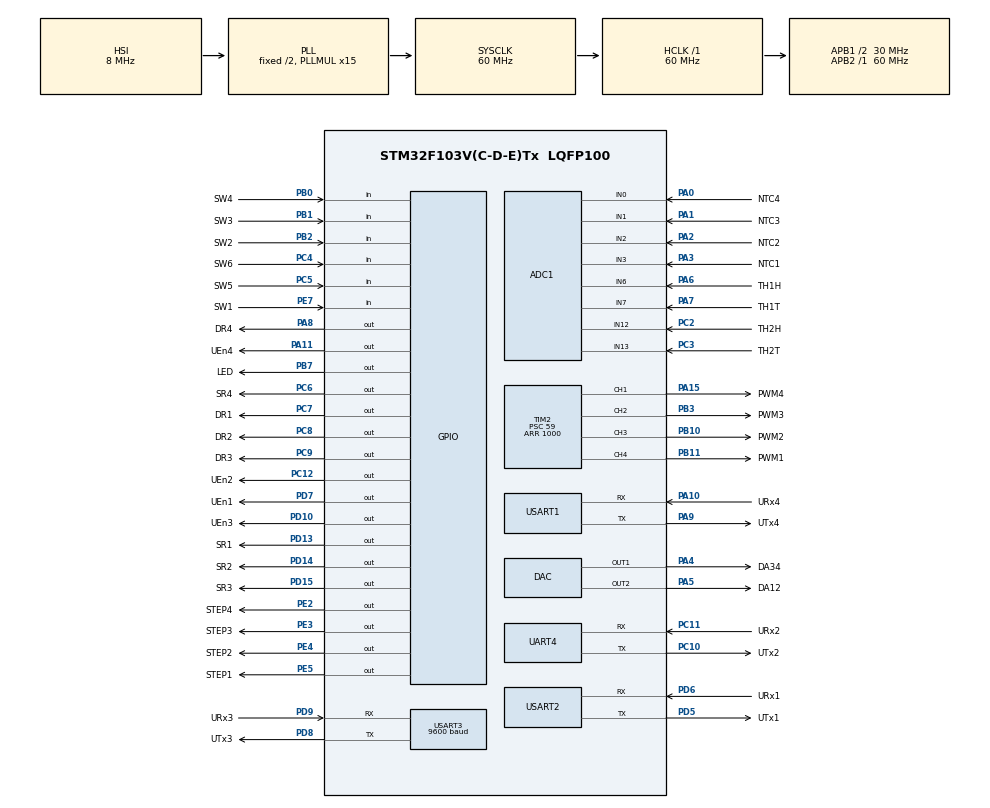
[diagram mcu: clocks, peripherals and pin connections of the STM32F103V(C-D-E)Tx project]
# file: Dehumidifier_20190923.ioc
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ADC1.Channel-0\#ChannelRegularConversion=ADC_CHANNEL_0
ADC1.Channel-10\#ChannelRegularConversion=ADC_CHANNEL_TEMPSENSOR
ADC1.Channel-11\#ChannelRegularConversion=ADC_CHANNEL_VREFINT
ADC1.Channel-3\#ChannelRegularConversion=ADC_CHANNEL_1
ADC1.Channel-4\#ChannelRegularConversion=ADC_CHANNEL_2
ADC1.Channel-5\#ChannelRegularConversion=ADC_CHANNEL_3
ADC1.Channel-6\#ChannelRegularConversion=ADC_CHANNEL_6
ADC1.Channel-7\#ChannelRegularConversion=ADC_CHANNEL_7
ADC1.Channel-8\#ChannelRegularConversion=ADC_CHANNEL_12
ADC1.Channel-9\#ChannelRegularConversion=ADC_CHANNEL_13
ADC1.ContinuousConvMode=ENABLE
ADC1.NbrOfConversion=10
ADC1.NbrOfConversionFlag=1
ADC1.Rank-0\#ChannelRegularConversion=1
ADC1.Rank-10\#ChannelRegularConversion=9
ADC1.Rank-11\#ChannelRegularConversion=10
ADC1.Rank-3\#ChannelRegularConversion=2
ADC1.Rank-4\#ChannelRegularConversion=3
ADC1.Rank-5\#ChannelRegularConversion=4
ADC1.Rank-6\#ChannelRegularConversion=5
ADC1.Rank-7\#ChannelRegularConversion=6
ADC1.Rank-8\#ChannelRegularConversion=7
ADC1.Rank-9\#ChannelRegularConversion=8
ADC1.SamplingTime-0\#ChannelRegularConversion=ADC_SAMPLETIME_239CYCLES_5
ADC1.SamplingTime-10\#ChannelRegularConversion=ADC_SAMPLETIME_239CYCLES_5
ADC1.SamplingTime-11\#ChannelRegularConversion=ADC_SAMPLETIME_239CYCLES_5
ADC1.SamplingTime-3\#ChannelRegularConversion=ADC_SAMPLETIME_239CYCLES_5
ADC1.SamplingTime-4\#ChannelRegularConversion=ADC_SAMPLETIME_239CYCLES_5
ADC1.SamplingTime-5\#ChannelRegularConversion=ADC_SAMPLETIME_239CYCLES_5
ADC1.SamplingTime-6\#ChannelRegularConversion=ADC_SAMPLETIME_239CYCLES_5
ADC1.SamplingTime-7\#ChannelRegularConversion=ADC_SAMPLETIME_239CYCLES_5
ADC1.SamplingTime-8\#ChannelRegularConversion=ADC_SAMPLETIME_239CYCLES_5
ADC1.SamplingTime-9\#ChannelRegularConversion=ADC_SAMPLETIME_239CYCLES_5
ADC1.master=1
Dma.ADC1.0.Direction=DMA_PERIPH_TO_MEMORY
Dma.ADC1.0.Instance=DMA1_Channel1
Dma.ADC1.0.MemDataAlignment=DMA_MDATAALIGN_WORD
Dma.ADC1.0.MemInc=DMA_MINC_ENABLE
Dma.ADC1.0.Mode=DMA_CIRCULAR
Dma.ADC1.0.PeriphDataAlignment=DMA_PDATAALIGN_WORD
Dma.ADC1.0.PeriphInc=DMA_PINC_DISABLE
Dma.ADC1.0.Priority=DMA_PRIORITY_LOW
Dma.Request0=ADC1
Dma.Request1=UART4_RX
Dma.Request2=UART4_TX
Dma.Request3=USART1_RX
Dma.Request4=USART1_TX
Dma.Request5=USART2_RX
Dma.Request6=USART2_TX
Dma.Request7=USART3_RX
Dma.Request8=USART3_TX
Dma.UART4_RX.1.Direction=DMA_PERIPH_TO_MEMORY
Dma.UART4_RX.1.Instance=DMA2_Channel3
Dma.UART4_RX.1.MemDataAlignment=DMA_MDATAALIGN_BYTE
Dma.UART4_RX.1.MemInc=DMA_MINC_ENABLE
Dma.UART4_RX.1.Mode=DMA_NORMAL
Dma.UART4_RX.1.PeriphDataAlignment=DMA_PDATAALIGN_BYTE
Dma.UART4_RX.1.PeriphInc=DMA_PINC_DISABLE
Dma.UART4_RX.1.Priority=DMA_PRIORITY_LOW
Dma.UART4_TX.2.Direction=DMA_MEMORY_TO_PERIPH
Dma.UART4_TX.2.Instance=DMA2_Channel5
Dma.UART4_TX.2.MemDataAlignment=DMA_MDATAALIGN_BYTE
Dma.UART4_TX.2.MemInc=DMA_MINC_ENABLE
Dma.UART4_TX.2.Mode=DMA_NORMAL
Dma.UART4_TX.2.PeriphDataAlignment=DMA_PDATAALIGN_BYTE
Dma.UART4_TX.2.PeriphInc=DMA_PINC_DISABLE
Dma.UART4_TX.2.Priority=DMA_PRIORITY_LOW
Dma.USART1_RX.3.Direction=DMA_PERIPH_TO_MEMORY
Dma.USART1_RX.3.Instance=DMA1_Channel5
Dma.USART1_RX.3.MemDataAlignment=DMA_MDATAALIGN_BYTE
Dma.USART1_RX.3.MemInc=DMA_MINC_ENABLE
Dma.USART1_RX.3.Mode=DMA_NORMAL
Dma.USART1_RX.3.PeriphDataAlignment=DMA_PDATAALIGN_BYTE
Dma.USART1_RX.3.PeriphInc=DMA_PINC_DISABLE
Dma.USART1_RX.3.Priority=DMA_PRIORITY_LOW
Dma.USART1_TX.4.Direction=DMA_MEMORY_TO_PERIPH
Dma.USART1_TX.4.Instance=DMA1_Channel4
Dma.USART1_TX.4.MemDataAlignment=DMA_MDATAALIGN_BYTE
Dma.USART1_TX.4.MemInc=DMA_MINC_ENABLE
Dma.USART1_TX.4.Mode=DMA_NORMAL
Dma.USART1_TX.4.PeriphDataAlignment=DMA_PDATAALIGN_BYTE
Dma.USART1_TX.4.PeriphInc=DMA_PINC_DISABLE
Dma.USART1_TX.4.Priority=DMA_PRIORITY_LOW
Dma.USART2_RX.5.Direction=DMA_PERIPH_TO_MEMORY
Dma.USART2_RX.5.Instance=DMA1_Channel6
Dma.USART2_RX.5.MemDataAlignment=DMA_MDATAALIGN_BYTE
Dma.USART2_RX.5.MemInc=DMA_MINC_ENABLE
Dma.USART2_RX.5.Mode=DMA_NORMAL
Dma.USART2_RX.5.PeriphDataAlignment=DMA_PDATAALIGN_BYTE
Dma.USART2_RX.5.PeriphInc=DMA_PINC_DISABLE
Dma.USART2_RX.5.Priority=DMA_PRIORITY_LOW
Dma.USART2_TX.6.Direction=DMA_MEMORY_TO_PERIPH
Dma.USART2_TX.6.Instance=DMA1_Channel7
Dma.USART2_TX.6.MemDataAlignment=DMA_MDATAALIGN_BYTE
Dma.USART2_TX.6.MemInc=DMA_MINC_ENABLE
Dma.USART2_TX.6.Mode=DMA_NORMAL
Dma.USART2_TX.6.PeriphDataAlignment=DMA_PDATAALIGN_BYTE
Dma.USART2_TX.6.PeriphInc=DMA_PINC_DISABLE
Dma.USART2_TX.6.Priority=DMA_PRIORITY_LOW
Dma.USART3_RX.7.Direction=DMA_PERIPH_TO_MEMORY
Dma.USART3_RX.7.Instance=DMA1_Channel3
Dma.USART3_RX.7.MemDataAlignment=DMA_MDATAALIGN_BYTE
Dma.USART3_RX.7.MemInc=DMA_MINC_ENABLE
Dma.USART3_RX.7.Mode=DMA_NORMAL
Dma.USART3_RX.7.PeriphDataAlignment=DMA_PDATAALIGN_BYTE
Dma.USART3_RX.7.PeriphInc=DMA_PINC_DISABLE
Dma.USART3_RX.7.Priority=DMA_PRIORITY_LOW
Dma.USART3_TX.8.Direction=DMA_MEMORY_TO_PERIPH
Dma.USART3_TX.8.Instance=DMA1_Channel2
Dma.USART3_TX.8.MemDataAlignment=DMA_MDATAALIGN_BYTE
Dma.USART3_TX.8.MemInc=DMA_MINC_ENABLE
Dma.USART3_TX.8.Mode=DMA_NORMAL
Dma.USART3_TX.8.PeriphDataAlignment=DMA_PDATAALIGN_BYTE
Dma.USART3_TX.8.PeriphInc=DMA_PINC_DISABLE
Dma.USART3_TX.8.Priority=DMA_PRIORITY_LOW
FREERTOS.Tasks01=task01,1,256,task01_most_important_task,Default,NULL,Dynamic,NULL,NULL;task02,1,256,task02_cps_read_write_task,Default,NULL,Dynamic,NULL,NULL;task03,0,256,task03_hmi_wait_cmd_task,Default,NULL,Dynamic,NULL,NULL;task04,0,256,task04_aqi_read_task,Default,NULL,Dynamic,NULL,NULL;task05,-1,128,task05_pwm_adc_dac_gpio_task,Default,NULL,Dynamic,NULL,NULL;task06,-1,128,task06_stepper_task,Default,NULL,Dynamic,NULL,NULL;task07,-2,128,task07_misc_func_task,Default,NULL,Dynamic,NULL,NULL
FREERTOS.configTOTAL_HEAP_SIZE=20480
FREERTOS.configUSE_TIMERS=1
Mcu.Family=STM32F1
Mcu.Name=STM32F103V(C-D-E)Tx
Mcu.Package=LQFP100
NVIC.DMA1_Channel1_IRQn=true\:5\:0\:false\:false\:true\:true\:false\:true
NVIC.DMA1_Channel2_IRQn=true\:5\:0\:false\:false\:true\:true\:false\:true
NVIC.DMA1_Channel3_IRQn=true\:5\:0\:false\:false\:true\:true\:false\:true
NVIC.DMA1_Channel4_IRQn=true\:5\:0\:false\:false\:true\:true\:false\:true
NVIC.DMA1_Channel5_IRQn=true\:5\:0\:false\:false\:true\:true\:false\:true
NVIC.DMA1_Channel6_IRQn=true\:5\:0\:false\:false\:true\:true\:false\:true
NVIC.DMA1_Channel7_IRQn=true\:5\:0\:false\:false\:true\:true\:false\:true
NVIC.DMA2_Channel3_IRQn=true\:5\:0\:false\:false\:true\:true\:false\:true
NVIC.DMA2_Channel4_5_IRQn=true\:5\:0\:false\:false\:true\:true\:false\:true
NVIC.PriorityGroup=NVIC_PRIORITYGROUP_4
NVIC.TIM8_UP_IRQn=true\:0\:0\:false\:false\:true\:false\:false\:true
NVIC.TimeBase=TIM8_UP_IRQn
NVIC.TimeBaseIP=TIM8
NVIC.UART4_IRQn=true\:5\:0\:false\:false\:true\:true\:true\:true
NVIC.USART1_IRQn=true\:5\:0\:false\:false\:true\:true\:true\:true
NVIC.USART2_IRQn=true\:5\:0\:false\:false\:true\:true\:true\:true
NVIC.USART3_IRQn=true\:5\:0\:false\:false\:true\:true\:true\:true
PA0-WKUP.GPIO_Label=NTC4
PA0-WKUP.Signal=ADCx_IN0
PA1.GPIO_Label=NTC3
PA1.Signal=ADCx_IN1
PA10.GPIO_Label=URx4
PA10.Mode=Asynchronous
PA10.Signal=USART1_RX
PA11.GPIO_Label=UEn4
PA11.Signal=GPIO_Output
PA13.GPIO_Label=SWDIO
PA13.Mode=Serial_Wire
PA13.Signal=SYS_JTMS-SWDIO
PA14.GPIO_Label=SWCLK
PA14.Mode=Serial_Wire
PA14.Signal=SYS_JTCK-SWCLK
PA15.GPIO_Label=PWM4
PA15.Signal=S_TIM2_CH1_ETR
PA2.GPIO_Label=NTC2
PA2.Signal=ADCx_IN2
PA3.GPIO_Label=NTC1
PA3.Signal=ADCx_IN3
PA4.GPIO_Label=DA34
PA4.Signal=COMP_DAC1_group
PA5.GPIO_Label=DA12
PA5.Signal=COMP_DAC2_group
PA6.GPIO_Label=TH1H
PA6.Signal=ADCx_IN6
PA7.GPIO_Label=TH1T
PA7.Signal=ADCx_IN7
PA8.GPIO_Label=DR4
PA8.Signal=GPIO_Output
PA9.GPIO_Label=UTx4
PA9.Mode=Asynchronous
PA9.Signal=USART1_TX
PB0.GPIO_Label=SW4
PB0.GPIO_PuPd=GPIO_PULLDOWN
PB0.Signal=GPIO_Input
PB1.GPIO_Label=SW3
PB1.GPIO_PuPd=GPIO_PULLDOWN
PB1.Signal=GPIO_Input
PB10.GPIO_Label=PWM2
PB10.Signal=S_TIM2_CH3
PB11.GPIO_Label=PWM1
PB11.Signal=S_TIM2_CH4
PB2.GPIO_Label=SW2
PB2.GPIO_PuPd=GPIO_PULLDOWN
PB2.Signal=GPIO_Input
PB3.GPIO_Label=PWM3
PB3.Signal=S_TIM2_CH2
PB7.GPIO_Label=LED
PB7.Signal=GPIO_Output
PC10.GPIO_Label=UTx2
PC10.Mode=Asynchronous
PC10.Signal=UART4_TX
PC11.GPIO_Label=URx2
PC11.Mode=Asynchronous
PC11.Signal=UART4_RX
PC12.GPIO_Label=UEn2
PC12.Signal=GPIO_Output
PC2.GPIO_Label=TH2H
PC2.Signal=ADCx_IN12
PC3.GPIO_Label=TH2T
PC3.Signal=ADCx_IN13
PC4.GPIO_Label=SW6
PC4.GPIO_PuPd=GPIO_PULLDOWN
PC4.Signal=GPIO_Input
PC5.GPIO_Label=SW5
PC5.GPIO_PuPd=GPIO_PULLDOWN
PC5.Signal=GPIO_Input
PC6.GPIO_Label=SR4
PC6.Signal=GPIO_Output
PC7.GPIO_Label=DR1
PC7.Signal=GPIO_Output
PC8.GPIO_Label=DR2
PC8.Signal=GPIO_Output
PC9.GPIO_Label=DR3
PC9.Signal=GPIO_Output
PD10.GPIO_Label=UEn3
PD10.Signal=GPIO_Output
PD13.GPIO_Label=SR1
PD13.Signal=GPIO_Output
PD14.GPIO_Label=SR2
PD14.Signal=GPIO_Output
PD15.GPIO_Label=SR3
PD15.Signal=GPIO_Output
PD5.GPIO_Label=UTx1
PD5.Mode=Asynchronous
PD5.Signal=USART2_TX
PD6.GPIO_Label=URx1
PD6.Mode=Asynchronous
PD6.Signal=USART2_RX
PD7.GPIO_Label=UEn1
PD7.Signal=GPIO_Output
PD8.GPIO_Label=UTx3
PD8.Mode=Asynchronous
PD8.Signal=USART3_TX
PD9.GPIO_Label=URx3
PD9.Mode=Asynchronous
PD9.Signal=USART3_RX
PE2.GPIO_Label=STEP4
PE2.GPIO_PuPd=GPIO_PULLDOWN
PE2.Signal=GPIO_Output
PE3.GPIO_Label=STEP3
PE3.GPIO_PuPd=GPIO_PULLDOWN
PE3.Signal=GPIO_Output
PE4.GPIO_Label=STEP2
PE4.GPIO_PuPd=GPIO_PULLDOWN
PE4.Signal=GPIO_Output
PE5.GPIO_Label=STEP1
PE5.GPIO_PuPd=GPIO_PULLDOWN
PE5.Signal=GPIO_Output
PE7.GPIO_Label=SW1
PE7.GPIO_PuPd=GPIO_PULLDOWN
PE7.Signal=GPIO_Input
ProjectManager.HeapSize=0x800
ProjectManager.StackSize=0x800
ProjectManager.TargetToolchain=MDK-ARM V5
RCC.ADCPresc=RCC_ADCPCLK2_DIV6
RCC.AHBFreq_Value=60000000
RCC.APB1CLKDivider=RCC_HCLK_DIV2
RCC.APB1Freq_Value=30000000
RCC.APB1TimFreq_Value=60000000
RCC.APB2Freq_Value=60000000
RCC.APB2TimFreq_Value=60000000
RCC.HCLKFreq_Value=60000000
RCC.PLLMUL=RCC_PLL_MUL15
RCC.SYSCLKFreq_VALUE=60000000
RCC.SYSCLKSource=RCC_SYSCLKSOURCE_PLLCLK
RCC.USBFreq_Value=60000000
SH.ADCx_IN0.0=ADC1_IN0,IN0
SH.ADCx_IN1.0=ADC1_IN1,IN1
SH.ADCx_IN12.0=ADC1_IN12,IN12
SH.ADCx_IN13.0=ADC1_IN13,IN13
SH.ADCx_IN2.0=ADC1_IN2,IN2
SH.ADCx_IN3.0=ADC1_IN3,IN3
SH.ADCx_IN6.0=ADC1_IN6,IN6
SH.ADCx_IN7.0=ADC1_IN7,IN7
SH.COMP_DAC1_group.0=DAC_OUT1,DAC_OUT1
SH.COMP_DAC2_group.0=DAC_OUT2,DAC_OUT2
SH.S_TIM2_CH1_ETR.0=TIM2_CH1,PWM Generation1 CH1
SH.S_TIM2_CH2.0=TIM2_CH2,PWM Generation2 CH2
SH.S_TIM2_CH3.0=TIM2_CH3,PWM Generation3 CH3
SH.S_TIM2_CH4.0=TIM2_CH4,PWM Generation4 CH4
TIM2.Channel-PWM\ Generation1\ CH1=TIM_CHANNEL_1
TIM2.Channel-PWM\ Generation2\ CH2=TIM_CHANNEL_2
TIM2.Channel-PWM\ Generation3\ CH3=TIM_CHANNEL_3
TIM2.Channel-PWM\ Generation4\ CH4=TIM_CHANNEL_4
TIM2.OCPolarity_1=TIM_OCPOLARITY_LOW
TIM2.OCPolarity_2=TIM_OCPOLARITY_LOW
TIM2.OCPolarity_3=TIM_OCPOLARITY_LOW
TIM2.OCPolarity_4=TIM_OCPOLARITY_LOW
TIM2.Period=1000
TIM2.Prescaler=59
TIM2.Pulse-PWM\ Generation1\ CH1=0
TIM2.Pulse-PWM\ Generation2\ CH2=0
TIM2.Pulse-PWM\ Generation3\ CH3=0
TIM2.Pulse-PWM\ Generation4\ CH4=0
UART4.VirtualMode=Asynchronous
USART1.VirtualMode=VM_ASYNC
USART2.VirtualMode=VM_ASYNC
USART3.BaudRate=9600
USART3.Parity=PARITY_NONE
USART3.VirtualMode=VM_ASYNC
VP_ADC1_TempSens_Input.Mode=IN-TempSens
VP_ADC1_Vref_Input.Mode=IN-Vrefint
VP_FREERTOS_VS_CMSIS_V1.Mode=CMSIS_V1
VP_SYS_VS_tim8.Mode=TIM8
VP_TIM2_VS_ClockSourceINT.Mode=Internal
board=custom

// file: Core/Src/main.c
/* USER CODE BEGIN Header */
/**
  ******************************************************************************
  * @file           : main.c
  * @brief          : Main program body
  ******************************************************************************
  * @attention
  *
  * <h2><center>&copy; Copyright (c) 2019 STMicroelectronics.
  * All rights reserved.</center></h2>
  *
  * This software component is licensed by ST under Ultimate Liberty license
  * SLA0044, the "License"; You may not use this file except in compliance with
  * the License. You may obtain a copy of the License at:
  *                             www.st.com/SLA0044
  *
  ******************************************************************************
  */
/* USER CODE END Header */

#include "main.h"
#include "cmsis_os.h"
#include "adc.h"
#include "dac.h"
#include "dma.h"
#include "tim.h"
#include "usart.h"
#include "gpio.h"

void SystemClock_Config(void);
void MX_FREERTOS_Init(void);

int main(void)
{

  /* MCU Configuration--------------------------------------------------------*/

  /* Reset of all peripherals, Initializes the Flash interface and the Systick. */
  HAL_Init();

  /* Configure the system clock */
  SystemClock_Config();

  /* Initialize all configured peripherals */
  MX_GPIO_Init();
  MX_DMA_Init();
  MX_ADC1_Init();
  MX_DAC_Init();
  MX_TIM2_Init();
  MX_UART4_Init();
  MX_USART1_UART_Init();
  MX_USART2_UART_Init();
  MX_USART3_UART_Init();

  /* Call init function for freertos objects (in freertos.c) */
  MX_FREERTOS_Init();

  /* Start scheduler */
  osKernelStart();

  /* We should never get here as control is now taken by the scheduler */

  /* Infinite loop */
  while (1)
  {

  }
}

void SystemClock_Config(void)
{
  RCC_OscInitTypeDef RCC_OscInitStruct = {0};
  RCC_ClkInitTypeDef RCC_ClkInitStruct = {0};
  RCC_PeriphCLKInitTypeDef PeriphClkInit = {0};

  /** Initializes the CPU, AHB and APB busses clocks
  */
  RCC_OscInitStruct.OscillatorType = RCC_OSCILLATORTYPE_HSI;
  RCC_OscInitStruct.HSIState = RCC_HSI_ON;
  RCC_OscInitStruct.HSICalibrationValue = RCC_HSICALIBRATION_DEFAULT;
  RCC_OscInitStruct.PLL.PLLState = RCC_PLL_ON;
  RCC_OscInitStruct.PLL.PLLSource = RCC_PLLSOURCE_HSI_DIV2;
  RCC_OscInitStruct.PLL.PLLMUL = RCC_PLL_MUL15;
  if (HAL_RCC_OscConfig(&RCC_OscInitStruct) != HAL_OK)
  {
    Error_Handler();
  }
  /** Initializes the CPU, AHB and APB busses clocks
  */
  RCC_ClkInitStruct.ClockType = RCC_CLOCKTYPE_HCLK|RCC_CLOCKTYPE_SYSCLK
                              |RCC_CLOCKTYPE_PCLK1|RCC_CLOCKTYPE_PCLK2;
  RCC_ClkInitStruct.SYSCLKSource = RCC_SYSCLKSOURCE_PLLCLK;
  RCC_ClkInitStruct.AHBCLKDivider = RCC_SYSCLK_DIV1;
  RCC_ClkInitStruct.APB1CLKDivider = RCC_HCLK_DIV2;
  RCC_ClkInitStruct.APB2CLKDivider = RCC_HCLK_DIV1;

  if (HAL_RCC_ClockConfig(&RCC_ClkInitStruct, FLASH_LATENCY_2) != HAL_OK)
  {
    Error_Handler();
  }
  PeriphClkInit.PeriphClockSelection = RCC_PERIPHCLK_ADC;
  PeriphClkInit.AdcClockSelection = RCC_ADCPCLK2_DIV6;
  if (HAL_RCCEx_PeriphCLKConfig(&PeriphClkInit) != HAL_OK)
  {
    Error_Handler();
  }
}

void HAL_TIM_PeriodElapsedCallback(TIM_HandleTypeDef *htim)
{
  if (htim->Instance == TIM8) {
    HAL_IncTick();
  }
}

void Error_Handler(void)
{
}

/************************ (C) COPYRIGHT STMicroelectronics *****END OF FILE****/

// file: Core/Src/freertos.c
/* USER CODE BEGIN Header */
/**
  ******************************************************************************
  * File Name          : freertos.c
  * Description        : Code for freertos applications
  ******************************************************************************
  * @attention
  *
  * <h2><center>&copy; Copyright (c) 2019 STMicroelectronics.
  * All rights reserved.</center></h2>
  *
  * This software component is licensed by ST under Ultimate Liberty license
  * SLA0044, the "License"; You may not use this file except in compliance with
  * the License. You may obtain a copy of the License at:
  *                             www.st.com/SLA0044
  *
  ******************************************************************************
  */
/* USER CODE END Header */

#include "FreeRTOS.h"
#include "task.h"
#include "main.h"
#include "cmsis_os.h"

/* USER CODE BEGIN Includes */
#include "csro_common.h"

/* USER CODE END Includes */

osThreadId task01Handle;
osThreadId task02Handle;
osThreadId task03Handle;
osThreadId task04Handle;
osThreadId task05Handle;
osThreadId task06Handle;
osThreadId task07Handle;

void task01_most_important_task(void const *argument);
void task02_cps_read_write_task(void const *argument);
void task03_hmi_wait_cmd_task(void const *argument);
void task04_aqi_read_task(void const *argument);
void task05_pwm_adc_dac_gpio_task(void const *argument);
void task06_stepper_task(void const *argument);
void task07_misc_func_task(void const *argument);

void MX_FREERTOS_Init(void); /* (MISRA C 2004 rule 8.1) */

void MX_FREERTOS_Init(void)
{

  /* Create the thread(s) */
  /* definition and creation of task01 */
  osThreadDef(task01, task01_most_important_task, osPriorityAboveNormal, 0, 256);
  task01Handle = osThreadCreate(osThread(task01), NULL);

  /* definition and creation of task02 */
  osThreadDef(task02, task02_cps_read_write_task, osPriorityAboveNormal, 0, 256);
  task02Handle = osThreadCreate(osThread(task02), NULL);

  /* definition and creation of task03 */
  osThreadDef(task03, task03_hmi_wait_cmd_task, osPriorityNormal, 0, 256);
  task03Handle = osThreadCreate(osThread(task03), NULL);

  /* definition and creation of task04 */
  osThreadDef(task04, task04_aqi_read_task, osPriorityNormal, 0, 256);
  task04Handle = osThreadCreate(osThread(task04), NULL);

  /* definition and creation of task05 */
  osThreadDef(task05, task05_pwm_adc_dac_gpio_task, osPriorityBelowNormal, 0, 128);
  task05Handle = osThreadCreate(osThread(task05), NULL);

  /* definition and creation of task06 */
  osThreadDef(task06, task06_stepper_task, osPriorityBelowNormal, 0, 128);
  task06Handle = osThreadCreate(osThread(task06), NULL);

  /* definition and creation of task07 */
  osThreadDef(task07, task07_misc_func_task, osPriorityLow, 0, 128);
  task07Handle = osThreadCreate(osThread(task07), NULL);

}

void task01_most_important_task(void const *argument)
{

  /* USER CODE BEGIN task01_most_important_task */
  /* Infinite loop */
  for (;;)
  {
    osDelay(1000);
  }
  /* USER CODE END task01_most_important_task */
}

void task02_cps_read_write_task(void const *argument)
{
  /* USER CODE BEGIN task02_cps_read_write_task */
  csro_master_cps_init(&huart3);
  /* Infinite loop */
  for (;;)
  {
    csro_master_cps_read_write_task();
  }
  /* USER CODE END task02_cps_read_write_task */
}

void task03_hmi_wait_cmd_task(void const *argument)
{
  /* USER CODE BEGIN task03_hmi_wait_cmd_task */
  csro_slave_hmi_init(&huart2);
  /* Infinite loop */
  for (;;)
  {
    csro_slave_hmi_wait_cmd();
  }
  /* USER CODE END task03_hmi_wait_cmd_task */
}

void task04_aqi_read_task(void const *argument)
{
  /* USER CODE BEGIN task04_aqi_read_task */
  csro_master_aqi_init(&huart1);
  /* Infinite loop */
  for (;;)
  {
    osDelay(1000);
    csro_master_aqi_read_task();
  }
  /* USER CODE END task04_aqi_read_task */
}

void task05_pwm_adc_dac_gpio_task(void const *argument)
{
  /* USER CODE BEGIN task05_pwm_adc_dac_gpio_task */
  Csro_Control_init();
  /* Infinite loop */
  for (;;)
  {
    osDelay(100);
    Csro_Auto_Run();
  }
  /* USER CODE END task05_pwm_adc_dac_gpio_task */
}

void task06_stepper_task(void const *argument)
{
  /* USER CODE BEGIN task06_stepper_task */
  Csro_Stepper_Set_Position(0);
  /* Infinite loop */
  for (;;)
  {
    osDelay(1000);
    Csro_Stepper_Set_Position(sys_regs.holdings[HOLDING_STEPPER]);
  }
  /* USER CODE END task06_stepper_task */
}

void task07_misc_func_task(void const *argument)
{
  /* USER CODE BEGIN task07_misc_func_task */
  /* Infinite loop */
  for (;;)
  {
    osDelay(500);
    HAL_GPIO_TogglePin(LED_GPIO_Port, LED_Pin);
  }
  /* USER CODE END task07_misc_func_task */
}

/************************ (C) COPYRIGHT STMicroelectronics *****END OF FILE****/
